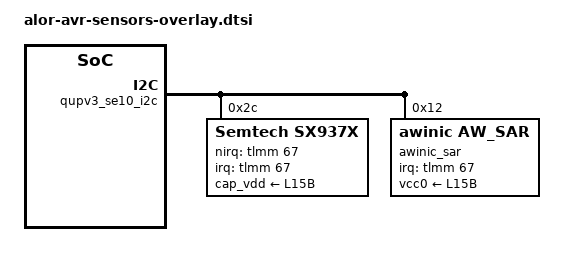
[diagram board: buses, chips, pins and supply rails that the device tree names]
/*
 * Copyright (c) 2023, The Linux Foundation. All rights reserved.
 *
 * This program is free software; you can redistribute it and/or modify
 * it under the terms of the GNU General Public License version 2 and
 * only version 2 as published by the Free Software Foundation.
 *
 * This program is distributed in the hope that it will be useful,
 * but WITHOUT ANY WARRANTY; without even the implied warranty of
 * MERCHANTABILITY or FITNESS FOR A PARTICULAR PURPOSE.  See the
 * GNU General Public License for more details.
 */
&tlmm {
	sar_int_default: sar_int_default {
			mux {
				pins = "gpio67";
				function =  "gpio";
			};
			config {
				pins = "gpio67";
				num-grp-pins = <1>;
				drive-strength = <2>;
				bias-pull-up;
			};
	};
	sar_int_sleep: sar_int_sleep {
			mux {
				pins = "gpio67";
				function =  "gpio";
			};
			config {
				pins = "gpio67";
				num-grp-pins = <1>;
				drive-strength = <2>;
				bias-pull-up;
			};
	};
};
&qupv3_se10_i2c {
        status = "okay";
        sx937x@2c { /* SAR sensor */
		compatible = "Semtech,sx937x";
		reg = <0x2c>;
		Semtech,power-supply-type = <0>;
		cap_vdd-supply = <&L15B>;
		pinctrl-names = "default","sleep";
		pinctrl-0 = <&sar_int_default>;
		pinctrl-1 = <&sar_int_sleep>;
		interrupt-parent = <&tlmm>;
		interrupts = <67 0x02>;
		interrupt-names = "capsense0_irq";
		Semtech,nirq-gpio= <&tlmm 67 0x02>;
		reinit-on-i2c-failure = <1>;
		esd-reinit-on = <1>;
		/*use PH4/5/6 as the reference sensor
		set it to 0xff if the ref-phases-x is not used*/
		Semtech,ref-phases-a = <4>;
		Semtech,ref-phases-b = <5>;
		Semtech,ref-phases-c = <6>;
		Semtech,button-flag = <0x1f>;
		Semtech,button-names = "Moto CapSense Ch0","Moto CapSense Ch1","Moto CapSense Ch2","Moto CapSense Ch3","Moto CapSense Ch4";
		Semtech,reg-num = <60>;
		Semtech,reg-init = <
			0x4004 0x00000070
			0x4008 0x00000008
                        0x8020 0x00000032
			0x8028 0x0000085E
			0x8034 0x0000085E
			0x8040 0x0000085E
			0x804C 0x0000085E
			0x8058 0x0000085E
			0x8064 0x0000085E
			0x8070 0x0000085E
			0x807C 0x0000085E
			0x8030 0x00924964
			0x803C 0x0092492C
			0x8048 0x00925924
			0x8054 0x00964924
			0x8060 0x00924925
			0x806C 0x00B24924
			0x8078 0x0092C924
			0x8084 0x00924924
			0x8098 0x0000C878
			0x80B8 0x00008E47
			0x80D8 0x00006E6E
			0x80F8 0x00001B1B
			0x8118 0x00001D1D
			0x8138 0x000000FF
			0x8158 0x0000C88E
			0x8178 0x0000C88E
			0x80A0 0x24240001
			0x80C0 0x69690002
			0x80E0 0x4D4D0002
			0x8100 0x29290002
			0x8120 0x26260002
			0x8188 0x08000005
			0x818C 0x08000006
			0x8090 0x21005000
			0x80B0 0x22005000
			0x80D0 0x50BA7000
			0x80F0 0x78A35000
			0x8110 0x64AD5000
			0x8130 0x54AC5000
			0x8150 0x54AC5000
			0x8170 0x54AC5000
			0x8088 0x00300000
			0x80A8 0x00300000
			0x80C8 0x00300000
			0x80E8 0x00300000
			0x8108 0x00300000
			0x8128 0x04000000
			0x8148 0x04000000
			0x8168 0x00300000
			0x808C 0x60200030
			0x80AC 0x60200030
			0x80CC 0x60200030
			0x80EC 0x60200030
			0x810C 0x60200030
			0x812C 0x60200030
			0x814C 0x60200030
			0x816C 0x60200030
			0x8274 0x2E040000
			0x8024 0x7F00
		>;
		status = "okay";
	};
        awinic_sar@12 {
                /* common node */
                compatible = "awinic,aw_sar";
                reg = < 0x12 >;
                aw_sar,regulator-power-supply = <1>;
                aw_sar,using_pm_ops;
                sar-num = < 0 >;
                interrupt-parent = < &tlmm >;
                interrupts = <67 0x02>;
                interrupt-names = "awinic_irq";
                irq-gpio = <&tlmm 67 0x02>;
                vcc0-supply = <&L15B>;
                channel_use_flag = <0x1f>;
                monitor_esd_flag = <1>;
                aw_sar,use_plug_cail;
                aw_sar,update_fw;
                /* private node belongs to aw963xx */
                start-mode = < 1 >; // 0: start in rom  1: start in ram
                irq-mux = < 2 >; // set csx as irq pin. config this field when connect to aw96308/aw96310
                status = "okay";
        };


};



